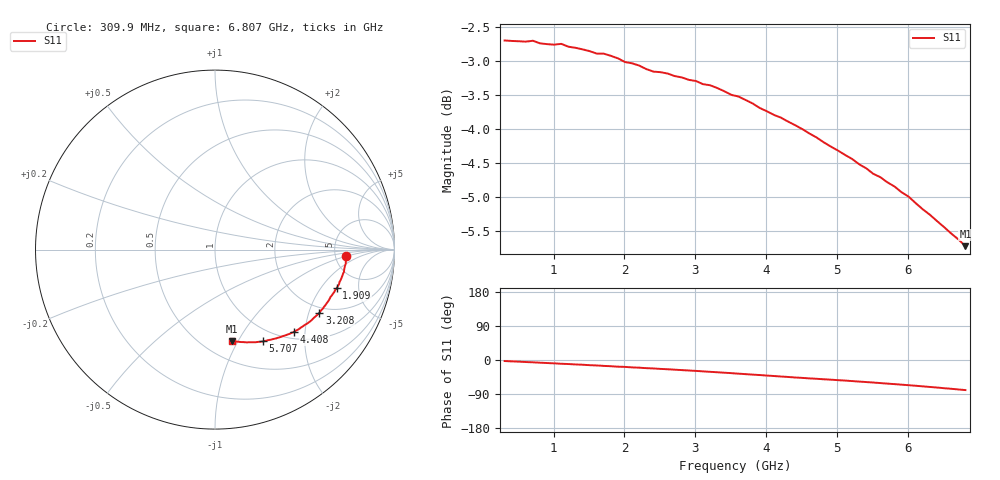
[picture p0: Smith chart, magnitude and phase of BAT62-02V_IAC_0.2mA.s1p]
! Infineon Technologies  Discrete & RF Semiconductors
! BAT62-02V
! IAC = 0.2 mA
! One-Port S-Parameters
# Hz  S  MA  R  50
!f  S11
!Hz  Mag  Ang
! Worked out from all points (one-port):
!   66 points, 309.9 MHz to 6.807 GHz, reference 50 ohm
!   lowest |S11| = -5.7 dB at 6.807 GHz (marker M1), VSWR 3.15, Z = 34 - j47.3 ohm
!   |S11| at or under -10 dB: nowhere
!   S11 on the Smith chart (normalised r, x): 309.9 MHz: 6.35, -0.95; 1.909 GHz: 3.29, -2.87; 3.208 GHz: 1.80, -2.35; 4.408 GHz: 1.14, -1.75; 5.707 GHz: 0.84, -1.28; 6.807 GHz: 0.68, -0.95
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3.0985e8  0.7334 -2.7
7.0965e8  0.733 -6.1
8.096e8  0.7298 -7.1
1.10945e9  0.7291 -9.9
1.2094e9  0.7256 -10.7
1.4093e9  0.7224 -12.5
1.50925e9  0.7202 -13.7
1.6092e9  0.7172 -14.4
1.70915e9  0.7171 -15.6
1.8091e9  0.7145 -16.4
1.90905e9  0.7114 -17.6
2.009e9  0.707 -18.2
2.10895e9  0.7055 -19.5
2.2089e9  0.7028 -20.3
2.30885e9  0.6986 -21.6
2.4088e9  0.6957 -22.3
2.50875e9  0.695 -23.5
2.8086e9  0.6889 -26.6
3.2084e9  0.6798 -31.2
3.6082e9  0.6669 -36.1
4.2079e9  0.6434 -43.7
4.4078e9  0.6353 -46.2
4.6077e9  0.6265 -48.5
5.2074e9  0.6001 -55.6
5.70715e9  0.5767 -62.3
6.007e9  0.5629 -66.5
6.50675e9  0.5346 -74.4
6.8066e9  0.5177 -79.3
